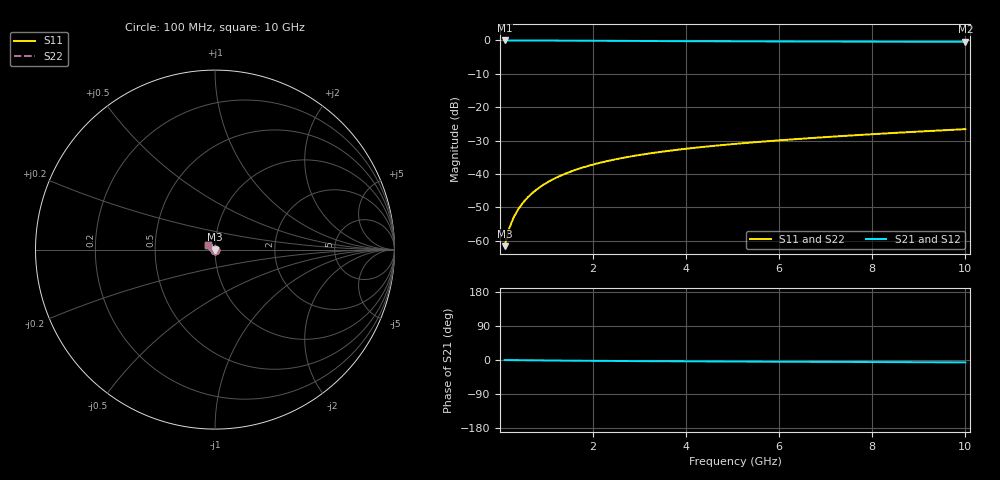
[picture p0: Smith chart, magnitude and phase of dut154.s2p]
! Touchstone file exported from HFSS 2024.1.0
!  File:  C:/UserFiles/LocalFiles/RDL_TSV_Batchsim/temp_TSV1_154_1779381717.aedt
!  Generated:  12:49:48 AM May 22, 2026
!  Design:  TSV1
!  Project:  temp_TSV1_154_1779381717
!  Setup:  Setup1
!  Solution:  Sweep
! Variables:
!  dtsv = 6.48um
!  hbump = 3um
!  htsv = 94.03um
!  lrdl = 252.1521522um
!  p = 40
!  p1 = 55.48um
!  t = 500um
!  trdl = 3um
!  wrdl = 24.89489489um
# GHz S MA R 50.000000
! Terminal data exported
! Port[1] = TSV22_T1
! Port[2] = TSV22_T2
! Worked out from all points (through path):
!   100 points, 100 MHz to 10 GHz, reference 50 ohm
!   highest |S21| = 0.00 dB at 100 MHz (marker M1); lowest = -0.4 dB at 10 GHz (marker M2)
!   lowest |S11| = -61.6 dB at 100 MHz (marker M3), VSWR 1.00, Z = 50 - j0.0758 ohm
!   |S11| at or under -10 dB: start of sweep to end of sweep
!   |S22| runs from -61.6 to -26.6 dB; largest |S21 - S12| = 1e-14
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0.1  0.000833 -65.5  0.9996 -0.1  0.9996 -0.1  0.000833 -65.5
! Gamma 0 0 0 0
! Port Impedance 50 0 50 0
0.2  0.001548 -80.5  0.9995 -0.2  0.9995 -0.2  0.001548 -80.5
0.3  0.002285 -87.5  0.9993 -0.4  0.9993 -0.4  0.002285 -87.5
0.4  0.003025 -92.1  0.9991 -0.5  0.9991 -0.5  0.003025 -92.1
0.5  0.003764 -95.9  0.9988 -0.6  0.9988 -0.6  0.003764 -95.9
0.6  0.004499 -99.1  0.9985 -0.7  0.9985 -0.7  0.004499 -99.1
0.7  0.005228 -102.1  0.9981 -0.9  0.9981 -0.9  0.005228 -102.1
0.8  0.00595 -104.9  0.9977 -1.0  0.9977 -1.0  0.00595 -104.9
0.9  0.006665 -107.5  0.9972 -1.1  0.9972 -1.1  0.006665 -107.5
1.1  0.00807 -112.6  0.9961 -1.3  0.9961 -1.3  0.00807 -112.6
1.4  0.0101 -119.6  0.9942 -1.6  0.9942 -1.6  0.0101 -119.6
1.6  0.0114 -124.0  0.9927 -1.8  0.9927 -1.8  0.0114 -124.0
1.8  0.01266 -128.3  0.9912 -2.0  0.9912 -2.0  0.01266 -128.3
2.1  0.01446 -134.4  0.9889 -2.3  0.9889 -2.3  0.01446 -134.4
2.5  0.01671 -142.1  0.9858 -2.6  0.9858 -2.6  0.01671 -142.1
2.9  0.0188 -149.1  0.9827 -2.9  0.9827 -2.9  0.0188 -149.1
3.4  0.02123 -157.2  0.9791 -3.2  0.9791 -3.2  0.02123 -157.2
4.2  0.02479 -168.7  0.974 -3.6  0.974 -3.6  0.02479 -168.7
5.1  0.02847 -179.7  0.9694 -4.1  0.9694 -4.1  0.02847 -179.7
6.7  0.03462 164.7  0.9633 -4.8  0.9633 -4.8  0.03462 164.7
8.4  0.041 152.1  0.959 -5.6  0.959 -5.6  0.041 152.1
10  0.04701 142.9  0.9561 -6.3  0.9561 -6.3  0.04702 142.9
